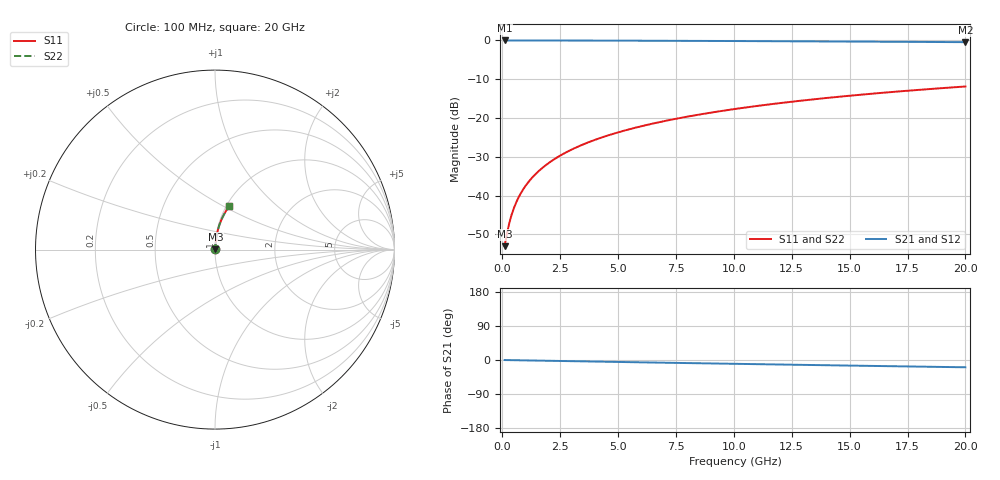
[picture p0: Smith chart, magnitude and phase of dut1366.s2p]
! Touchstone file exported from HFSS 2024.1.0
!  File:  C:/UserFiles/LocalFiles/RDL_TSV_Batchsim/temp_RDL_bottom_1366_1780370906.aedt
!  Generated:  11:31:17 AM Jun  2, 2026
!  Design:  RDL_bottom
!  Project:  temp_RDL_bottom_1366_1780370906
!  Setup:  Setup1
!  Solution:  Sweep
! Variables:
!  dtsv = 10.80580581um
!  hbump = 3um
!  htsv = 83.38um
!  ldown = 209.5um
!  lrdl = 100um
!  p = 40
!  p1 = 46.71um
!  rhole = 1um
!  t = 450um
!  tdown = 4.33um
!  trdl = 3.915915916um
!  wdown = 10.2um
!  wrdl = 20um
# GHz S MA R 50.000000
! Terminal data exported
! Port[1] = RDL1_T1
! Port[2] = RDL1_T2
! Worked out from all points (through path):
!   200 points, 100 MHz to 20 GHz, reference 50 ohm
!   highest |S21| = -0.02 dB at 100 MHz (marker M1); lowest = -0.5 dB at 20 GHz (marker M2)
!   group delay of S21, straight-line fit = 2.67 ps
!   lowest |S11| = -53.0 dB at 100 MHz (marker M3), VSWR 1.00, Z = 50.2 + j0.134 ohm
!   |S11| at or under -10 dB: start of sweep to end of sweep
!   |S22| runs from -53.0 to -11.9 dB; largest |S21 - S12| = 2.4e-15
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0.1  0.002229 37.0  0.9982 -0.1  0.9982 -0.1  0.002229 37.0
! Gamma 0 0 0 0
! Port Impedance 50 0 50 0
0.2  0.003226 56.0  0.9982 -0.2  0.9982 -0.2  0.003226 56.0
0.3  0.004399 65.3  0.9982 -0.3  0.9982 -0.3  0.004399 65.3
0.4  0.005632 70.5  0.9981 -0.4  0.9981 -0.4  0.005632 70.5
0.5  0.006888 73.8  0.9981 -0.5  0.9981 -0.5  0.006888 73.8
0.6  0.008157 76.1  0.998 -0.6  0.998 -0.6  0.008157 76.1
0.8  0.01071 79.0  0.9979 -0.8  0.9979 -0.8  0.01071 79.0
1.1  0.01458 81.4  0.9978 -1.2  0.9978 -1.2  0.01458 81.4
1.5  0.01975 83.0  0.9975 -1.6  0.9975 -1.6  0.01975 83.0
1.8  0.02365 83.7  0.9973 -1.9  0.9973 -1.9  0.02365 83.7
2.1  0.02754 84.1  0.9971 -2.2  0.9971 -2.2  0.02754 84.1
2.7  0.03535 84.5  0.9965 -2.8  0.9965 -2.8  0.03535 84.5
3.5  0.04575 84.5  0.9954 -3.6  0.9954 -3.6  0.04575 84.5
4.2  0.05486 84.3  0.9944 -4.4  0.9944 -4.4  0.05486 84.3
5  0.06526 83.9  0.993 -5.2  0.993 -5.2  0.06526 83.9
5.9  0.07695 83.4  0.9912 -6.1  0.9912 -6.1  0.07695 83.4
6.8  0.08864 82.9  0.9893 -7.0  0.9893 -7.0  0.08864 82.9
8.3  0.1081 81.8  0.9857 -8.4  0.9857 -8.4  0.1081 81.8
10.1  0.1313 80.4  0.981 -10.2  0.981 -10.2  0.1313 80.4
13.4  0.1735 77.6  0.9714 -13.3  0.9714 -13.3  0.1735 77.6
16.7  0.2147 74.8  0.9607 -16.3  0.9607 -16.3  0.2147 74.8
20  0.2546 71.9  0.9489 -19.2  0.9489 -19.2  0.2546 71.9
